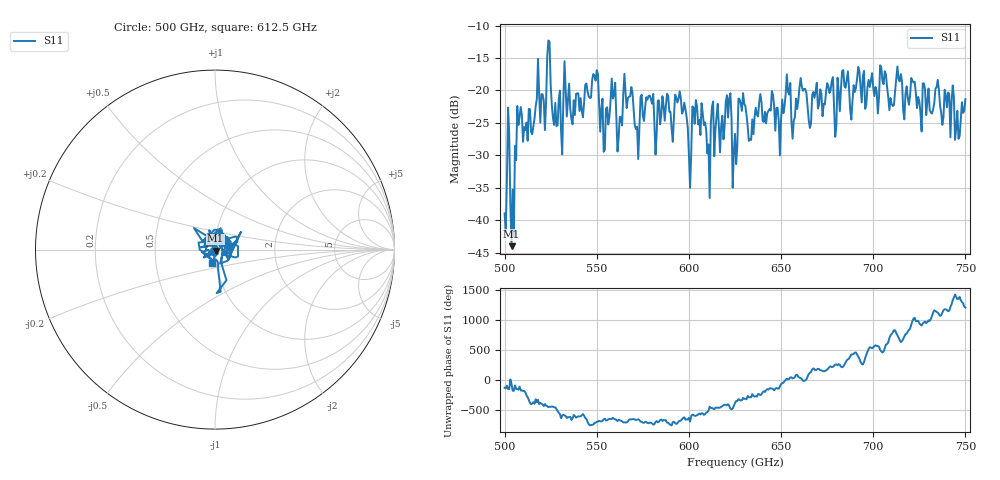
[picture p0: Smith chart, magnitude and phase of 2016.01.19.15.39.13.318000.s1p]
!Created with skrf (http://scikit-rf.org).
# GHz S RI R 50.0
!freq ReS11 ImS11
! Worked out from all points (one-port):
!   401 points, 500 GHz to 750 GHz, reference 50 ohm
!   lowest |S11| = -44.0 dB at 503.8 GHz (marker M1), VSWR 1.01, Z = 50.3 - j0.557 ohm
!   |S11| at or under -10 dB: start of sweep to end of sweep
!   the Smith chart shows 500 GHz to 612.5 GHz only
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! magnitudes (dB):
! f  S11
! 500 GHz  -38.9
! 501.9 GHz  -22.6
! 503.8 GHz  -44.0
! 508.1 GHz  -24.1
! 520.6 GHz  -20.6
! 523.8 GHz  -12.3
! 527.5 GHz  -21.9
! 531.2 GHz  -29.9
! 549.4 GHz  -18.5
! 553.1 GHz  -21.3
! 558.8 GHz  -21.2
! 562.5 GHz  -24.1
! 565.6 GHz  -20.4
! 571.9 GHz  -25.6
! 593.8 GHz  -21.9
! 600 GHz  -29.9
! 603.1 GHz  -25.1
! 610.6 GHz  -28.3
! 621.2 GHz  -24.2
! 625 GHz  -26.7
! 628.1 GHz  -22.1
! 633.8 GHz  -27.6
! 653.8 GHz  -20.2
! 656.2 GHz  -27.4
! 687.5 GHz  -23.0
! 718.8 GHz  -21.1
! 745.6 GHz  -23.1
! 750 GHz  -21.3
